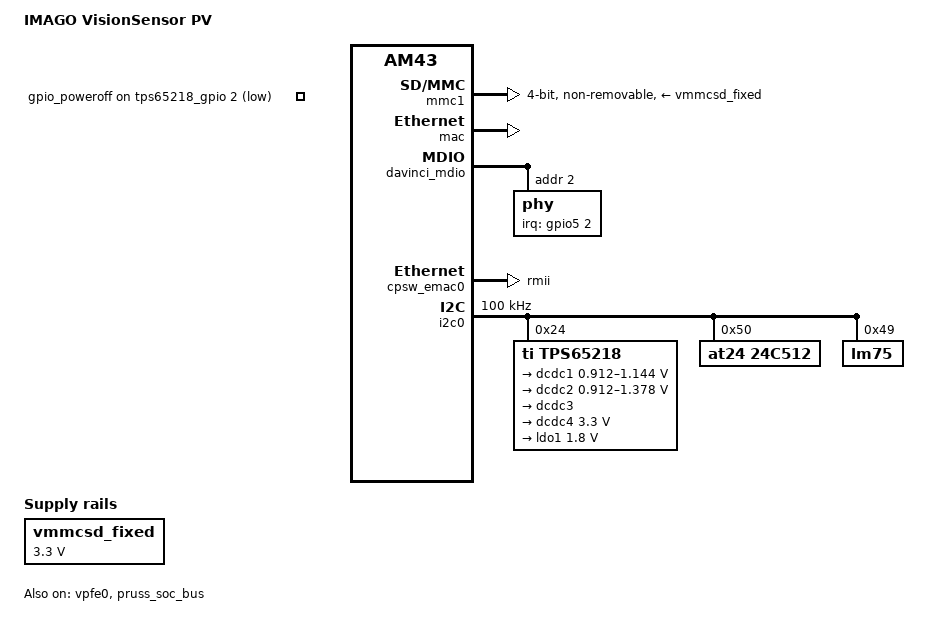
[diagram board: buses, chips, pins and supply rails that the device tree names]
/*
 * Copyright (C) Imago Technologies GmbH - http://www.imago-technologies.com/
 *
 * This program is free software; you can redistribute it and/or modify
 * it under the terms of the GNU General Public License version 2 as
 * published by the Free Software Foundation.
 */

/* IMAGO VisionSensor PV */

/dts-v1/;

#include "am4372.dtsi"
#include <dt-bindings/pinctrl/am43xx.h>
#include <dt-bindings/gpio/gpio.h>
#include <dt-bindings/pwm/pwm.h>

/ {
	model = "IMAGO VisionSensor PV";
	compatible = "ti,am43x-visionsensor-pv","ti,am438x","ti,am43";

	chosen {
		stdout-path = &uart0;
	};

	vmmcsd_fixed: fixedregulator-sd {
		compatible = "regulator-fixed";
		regulator-name = "vmmcsd_fixed";
		regulator-min-microvolt = <3300000>;
		regulator-max-microvolt = <3300000>;
		enable-active-high;
	};
	
	gpio_poweroff {
		compatible = "gpio-poweroff";
/*		gpios = <&tps65218_gpio 2 GPIO_OPEN_DRAIN>;*/
		gpios = <&tps65218_gpio 2 GPIO_ACTIVE_LOW>;
	};
};

&am43xx_pinmux {
	cpsw_default: cpsw_default {
		pinctrl-single,pins = <
			/* Slave 1 */
			AM4372_IOPAD(0x90c, PIN_INPUT_PULLDOWN | MUX_MODE1)	/* mii1_crs.rmii1_crs */
			AM4372_IOPAD(0x910, PIN_INPUT_PULLDOWN | MUX_MODE1)	/* mii1_rxerr.rmii1_rxerr */
			AM4372_IOPAD(0x914, PIN_OUTPUT_PULLDOWN | MUX_MODE1)	/* mii1_txen.rmii1_txen */
			AM4372_IOPAD(0x924, PIN_OUTPUT_PULLDOWN | MUX_MODE1)	/* mii1_txd1.rmii1_txd1 */
			AM4372_IOPAD(0x928, PIN_OUTPUT_PULLDOWN | MUX_MODE1)	/* mii1_txd0.rmii1_txd0 */
			AM4372_IOPAD(0x93c, PIN_INPUT_PULLDOWN | MUX_MODE1)	/* mii1_rxd1.rmii1_rxd1 */
			AM4372_IOPAD(0x940, PIN_INPUT_PULLDOWN | MUX_MODE1)	/* mii1_rxd0.rmii1_rxd0 */
			AM4372_IOPAD(0x944, PIN_INPUT_PULLDOWN | MUX_MODE0)	/* rmii1_refclk.rmii1_refclk */
		>;
	};

	cpsw_sleep: cpsw_sleep {
		pinctrl-single,pins = <
			/* Slave 1 reset value */
			AM4372_IOPAD(0x90c, PIN_INPUT_PULLDOWN | MUX_MODE7)
			AM4372_IOPAD(0x910, PIN_INPUT_PULLDOWN | MUX_MODE7)
			AM4372_IOPAD(0x914, PIN_INPUT_PULLDOWN | MUX_MODE7)
			AM4372_IOPAD(0x924, PIN_INPUT_PULLDOWN | MUX_MODE7)
			AM4372_IOPAD(0x928, PIN_INPUT_PULLDOWN | MUX_MODE7)
			AM4372_IOPAD(0x93c, PIN_INPUT_PULLDOWN | MUX_MODE7)
			AM4372_IOPAD(0x940, PIN_INPUT_PULLDOWN | MUX_MODE7)
			AM4372_IOPAD(0x944, PIN_INPUT_PULLDOWN | MUX_MODE7)
		>;
	};

	davinci_mdio_default: davinci_mdio_default {
		pinctrl-single,pins = <
			/* MDIO */
			AM4372_IOPAD(0x948, PIN_INPUT_PULLUP | SLEWCTRL_FAST | MUX_MODE0)	/* mdio_data.mdio_data */
			AM4372_IOPAD(0x94c, PIN_OUTPUT_PULLUP | MUX_MODE0)					/* mdio_clk.mdio_clk */
		>;
	};

	davinci_mdio_sleep: davinci_mdio_sleep {
		pinctrl-single,pins = <
			/* MDIO reset value */
			AM4372_IOPAD(0x948, PIN_INPUT_PULLDOWN | MUX_MODE7)
			AM4372_IOPAD(0x94c, PIN_INPUT_PULLDOWN | MUX_MODE7)
		>;
	};

	i2c0_pins: i2c0_pins {
		pinctrl-single,pins = <
			AM4372_IOPAD(0x988, PIN_INPUT_PULLUP | SLEWCTRL_FAST | MUX_MODE0)	/* i2c0_sda.i2c0_sda */
			AM4372_IOPAD(0x98c, PIN_INPUT_PULLUP | SLEWCTRL_FAST | MUX_MODE0)	/* i2c0_scl.i2c0_scl */
		>;
	};

	vpfe0_pins_default: vpfe0_pins_default {
		pinctrl-single,pins = <
			AM4372_IOPAD(0x9b0, PIN_INPUT_PULLUP | MUX_MODE0)  /* cam0_hd mode 0*/
			AM4372_IOPAD(0x9b4, PIN_INPUT_PULLUP | MUX_MODE0)  /* cam0_vd mode 0*/
			AM4372_IOPAD(0x9c0, PIN_INPUT_PULLUP | MUX_MODE0)  /* cam0_pclk mode 0*/
			AM4372_IOPAD(0x9c4, PIN_INPUT_PULLUP | MUX_MODE0)  /* cam0_data8 mode 0*/
			AM4372_IOPAD(0x9c8, PIN_INPUT_PULLUP | MUX_MODE0)  /* cam0_data9 mode 0*/
			AM4372_IOPAD(0xa08, PIN_INPUT_PULLUP | MUX_MODE0)  /* cam0_data0 mode 0*/
			AM4372_IOPAD(0xa0c, PIN_INPUT_PULLUP | MUX_MODE0)  /* cam0_data1 mode 0*/
			AM4372_IOPAD(0xa10, PIN_INPUT_PULLUP | MUX_MODE0)  /* cam0_data2 mode 0*/
			AM4372_IOPAD(0xa14, PIN_INPUT_PULLUP | MUX_MODE0)  /* cam0_data3 mode 0*/
			AM4372_IOPAD(0xa18, PIN_INPUT_PULLUP | MUX_MODE0)  /* cam0_data4 mode 0*/
			AM4372_IOPAD(0xa1c, PIN_INPUT_PULLUP | MUX_MODE0)  /* cam0_data5 mode 0*/
			AM4372_IOPAD(0xa20, PIN_INPUT_PULLUP | MUX_MODE0)  /* cam0_data6 mode 0*/
			AM4372_IOPAD(0xa24, PIN_INPUT_PULLUP | MUX_MODE0)  /* cam0_data7 mode 0*/
			AM4372_IOPAD(0xa70, PIN_OUTPUT_PULLDOWN | MUX_MODE3)  /* xdma_event_intr0.clkout1 => SENSOR.CLK_IN */
		>;
	};

	vpfe0_pins_sleep: vpfe0_pins_sleep {
		pinctrl-single,pins = <
			AM4372_IOPAD(0x9b0, DS0_PULL_UP_DOWN_EN | INPUT_EN | MUX_MODE7)  /* cam0_hd mode 0*/
			AM4372_IOPAD(0x9b4, DS0_PULL_UP_DOWN_EN | INPUT_EN | MUX_MODE7)  /* cam0_vd mode 0*/
			AM4372_IOPAD(0x9c0, DS0_PULL_UP_DOWN_EN | INPUT_EN | MUX_MODE7)  /* cam0_pclk mode 0*/
			AM4372_IOPAD(0x9c4, DS0_PULL_UP_DOWN_EN | INPUT_EN | MUX_MODE7)  /* cam0_data8 mode 0*/
			AM4372_IOPAD(0x9c8, DS0_PULL_UP_DOWN_EN | INPUT_EN | MUX_MODE7)  /* cam0_data9 mode 0*/
			AM4372_IOPAD(0xa08, DS0_PULL_UP_DOWN_EN | INPUT_EN | MUX_MODE7)  /* cam0_data0 mode 0*/
			AM4372_IOPAD(0xa0c, DS0_PULL_UP_DOWN_EN | INPUT_EN | MUX_MODE7)  /* cam0_data1 mode 0*/
			AM4372_IOPAD(0xa10, DS0_PULL_UP_DOWN_EN | INPUT_EN | MUX_MODE7)  /* cam0_data2 mode 0*/
			AM4372_IOPAD(0xa14, DS0_PULL_UP_DOWN_EN | INPUT_EN | MUX_MODE7)  /* cam0_data3 mode 0*/
			AM4372_IOPAD(0xa18, DS0_PULL_UP_DOWN_EN | INPUT_EN | MUX_MODE7)  /* cam0_data4 mode 0*/
			AM4372_IOPAD(0xa1c, DS0_PULL_UP_DOWN_EN | INPUT_EN | MUX_MODE7)  /* cam0_data5 mode 0*/
			AM4372_IOPAD(0xa20, DS0_PULL_UP_DOWN_EN | INPUT_EN | MUX_MODE7)  /* cam0_data6 mode 0*/
			AM4372_IOPAD(0xa24, DS0_PULL_UP_DOWN_EN | INPUT_EN | MUX_MODE7)  /* cam0_data7 mode 0*/
		>;
	};

	gpio2_pins: gpio2_pins {
		pinctrl-single,pins = <
			AM4372_IOPAD(0x8e4, PIN_OUTPUT | MUX_MODE7) /* dss_hsync.gpio2_23 => TrigMode */
		>;
	};

	gpio4_pins: gpio4_pins {
		pinctrl-single,pins = <
			AM4372_IOPAD(0x9d4, PIN_OUTPUT | MUX_MODE7) /* cam1_hd.gpio4_9 => SENSOR.RST */
			AM4372_IOPAD(0x88C, PIN_OUTPUT | MUX_MODE7) /* gpmc_clk.gpio2_1 => TTLOut0 */
			AM4372_IOPAD(0x9b8, PIN_OUTPUT | MUX_MODE7) /* cam0_field.gpio4_2 => OUT1 */
			AM4372_IOPAD(0x9bc, PIN_OUTPUT | MUX_MODE7) /* cam0_wen.gpio4_3 => OUT2 */
			AM4372_IOPAD(0x9ec, PIN_INPUT | MUX_MODE7) /* cam1_data1.gpio4_15 => IN0 */
			AM4372_IOPAD(0x9f4, PIN_INPUT | MUX_MODE7) /* cam1_data3.gpio4_17 => IN1 */
			AM4372_IOPAD(0x9d0, PIN_INPUT | MUX_MODE7) /* cam1_data8.gpio4_8 => IN2 */
			AM4372_IOPAD(0x9e8, PIN_OUTPUT_PULLDOWN | MUX_MODE7) /* cam1_data0.gpio4_14 => TrigSW */
			AM4372_IOPAD(0x9e0, PIN_OUTPUT_PULLDOWN | MUX_MODE7) /* cam1_field.gpio4_12 => StrobeEnable */
		>;
	};

	gpio5_pins: gpio5_pins {
		pinctrl-single,pins = <
			AM4372_IOPAD(0xA28, PIN_INPUT | MUX_MODE7)			/* uart3_rxd.gpio5_2 => PHY interrupt */
		>;
	};

	pru_pins: pru_pins {
		pinctrl-single,pins = <
			AM4372_IOPAD(0x9d8, PIN_INPUT_PULLUP | MUX_MODE5)	/* cam1_vd.pr0_pru1_gpi2 => SWITCH0 */
			AM4372_IOPAD(0x9fc, PIN_INPUT_PULLUP | MUX_MODE5)	/* cam1_data5.pr0_pru1_gpi13 => SENSOR.LED */
			AM4372_IOPAD(0xa04, PIN_INPUT | MUX_MODE5)	/* cam1_data7.pr0_pru1_gpi15 => IN0 */
			AM4372_IOPAD(0x8ec, PIN_INPUT | MUX_MODE6)	/* dss_ac_bias_en.pr0_pru1_gpi9 => TTLOut0 */
			AM4372_IOPAD(0xa00, PIN_OUTPUT | MUX_MODE4) /* cam1_data6.pr0_pru1_gpo14 => OUT0 */
			AM4372_IOPAD(0x8e8, PIN_INPUT | MUX_MODE6)	/* dss_pclk.pr0_pru1_gpi8 => TrigMode */
			AM4372_IOPAD(0x9f0, PIN_INPUT | MUX_MODE5) /* cam1_data2.pr0_pru1_gpi10 => TrigSW */
			AM4372_IOPAD(0x9dc, PIN_INPUT | MUX_MODE5) /* cam1_pclk.pr0_pru1_gpi3 => StrobeEnable */
			AM4372_IOPAD(0x8e0, PIN_INPUT | MUX_MODE6) /* dss_vsync.pr0_pru1_gpi6 => SWITCH1 */
			AM4372_IOPAD(0x9f8, PIN_OUTPUT | MUX_MODE4)	/* cam1_data4.pr0_pru1_gpo12 => SENSOR.EXP */
			AM4372_IOPAD(0x9cc, PIN_OUTPUT | MUX_MODE3)	/* cam1_data9.pr0_pru0_gpo17 => STROBE */
		>;
	};
};

&mmc1 {
	status = "okay";
	vmmc-supply = <&vmmcsd_fixed>;
	bus-width = <4>;
	non-removable;
	disable-wp;
};

&mac {
	slaves = <1>;
	pinctrl-names = "default", "sleep";
	pinctrl-0 = <&cpsw_default>;
	pinctrl-1 = <&cpsw_sleep>;
	status = "okay";
};

&davinci_mdio {
	pinctrl-names = "default", "sleep";
	pinctrl-0 = <&davinci_mdio_default>;
	pinctrl-1 = <&davinci_mdio_sleep>;
	status = "okay";
	phy: phy@2 {
		reg = <2>;
		interrupt-parent = <&gpio5>;
		interrupts = <2 IRQ_TYPE_EDGE_FALLING>;
	};
};

&cpsw_emac0 {
	phy_id = <&davinci_mdio>, <2>;
	phy-mode = "rmii";
};

&phy_sel {
	rmii-clock-ext;	/* RMII clock is provided by external PHY */ 
};

&i2c0 {
	status = "okay";
	pinctrl-names = "default";
	pinctrl-0 = <&i2c0_pins>;
	clock-frequency = <100000>;

	tps65218: tps65218@24 {
		reg = <0x24>;
		compatible = "ti,tps65218";
		interrupts = <GIC_SPI 7 IRQ_TYPE_NONE>;
		interrupt-controller;
		#interrupt-cells = <2>;

		dcdc1: regulator-dcdc1 {
			regulator-name = "vdd_core";
			regulator-min-microvolt = <912000>;
			regulator-max-microvolt = <1144000>;
			regulator-boot-on;
			regulator-always-on;
		};

		dcdc2: regulator-dcdc2 {
			regulator-name = "vdd_mpu";
			regulator-min-microvolt = <912000>;
			regulator-max-microvolt = <1378000>;
			regulator-boot-on;
			regulator-always-on;
		};

		dcdc3: regulator-dcdc3 {
			regulator-name = "vdcdc3";
			regulator-boot-on;
			regulator-always-on;
		};

		dcdc4: regulator-dcdc4 {
			regulator-name = "vdcdc4";
			regulator-min-microvolt = <3300000>;
			regulator-max-microvolt = <3300000>;
			regulator-boot-on;
			regulator-always-on;
		};

		ldo1: regulator-ldo1 {
			regulator-min-microvolt = <1800000>;
			regulator-max-microvolt = <1800000>;
			regulator-boot-on;
			regulator-always-on;
		};

		tps65218_gpio: tps65218_gpio {
			compatible = "ti,tps65218-gpio";
			gpio-controller;
			#gpio-cells = <2>;
		};
	};

	at24@50 {
		compatible = "at24,24c512";
		pagesize = <64>;
		reg = <0x50>;
	};

	lm75: lm75@49 {
		compatible = "lm75";
		reg = <0x49>;
	};
};

/* Please note that the gpio driver gets loaded before the pinmux is available.
   If pinmux gets configured within the gpios, gpio probe gets deferred:
   "omap_gpio 481ac000.gpio: could not find pctldev for nod
   /ocp@44000000/l4_wkup@44c00000/scm@210000/pinmux@800/gpio2_pins, deferring probe"
   To avoid mixed up order of gpio groups, we setup pinmux later when
   am43xx_pinmux gets loaded: */
 
&am43xx_pinmux {
	pinctrl-names = "default";
	pinctrl-0 = <&gpio2_pins &gpio4_pins &gpio5_pins>;
};

&gpio2 {
	status = "okay";
//	pinctrl-names = "default";
//	pinctrl-0 = <&gpio2_pins>;
};

&gpio4 {
	status = "okay";
//	pinctrl-names = "default";
//	pinctrl-0 = <&gpio4_pins>;
};

&gpio5 {
	status = "okay";
//	pinctrl-names = "default";
//	pinctrl-0 = <&gpio5_pins>;
};

&vpfe0 {
	compatible = "IMAGO,vsdrv-vpfe";
	status = "okay";
	pinctrl-names = "default", "sleep";
	pinctrl-0 = <&vpfe0_pins_default>;
	pinctrl-1 = <&vpfe0_pins_sleep>;
};



&synctimer_32kclk {
	assigned-clocks = <&mux_synctimer32k_ck>;
	assigned-clock-parents = <&clkdiv32k_ick>;
};

/*&wkup_m3_ipc {
	ti,scale-data-fw = "am43x-evm-scale-data.bin";
};*/

&cpu {
	cpu0-supply = <&dcdc2>;
};

&pruss_soc_bus {
	status = "okay";
	pinctrl-names = "default";
	pinctrl-0 = <&pru_pins>;

	pruss1: pruss@54400000 {
		status = "okay";

		pru1_0: pru@54434000 {
			status = "okay";
		};

		pru1_1: pru@54438000 {
			status = "okay";
		};
	};

	pruss0: pruss@54440000 {
		status = "okay";

		pru0_0: pru@54474000 {
			status = "okay";
		};

		pru0_1: pru@54478000 {
			status = "okay";
		};
	};
};
